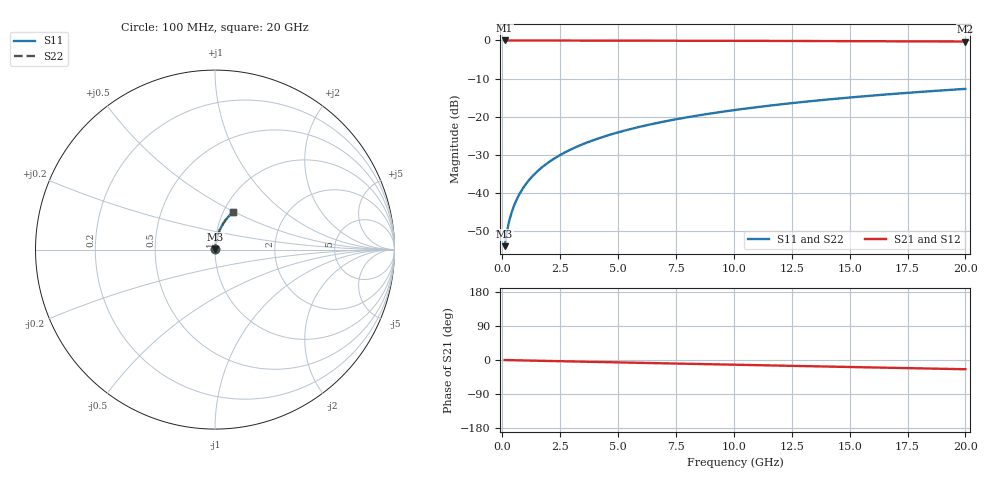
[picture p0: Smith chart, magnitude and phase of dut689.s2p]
! Touchstone file exported from HFSS 2026.1.0
!  File:  C:/ffzhzh/LocalFiles/Ansys_Project_Files/temp_train_TMRDL_689_1783010239_51716.aedt
!  Generated:  12:38:52 AM Jul  3, 2026
!  Design:  TMRDL
!  Project:  temp_train_TMRDL_689_1783010239_51716
! Variables:
!  h_bsmrdl = 2um
!  h_ox = 20um
!  h_rdl = 5um
!  h_sub = 80um
!  h_tmrdl = 3.38um
!  h_tsv = 80um
!  h_via = 3um
!  l_bsmrdl = 300um
!  l_sub = 720.23um
!  l_tmrdl = 320.23um
!  m_sub = 200um
!  pitch = 55.24um
!  r_tsv = 6um
!  s_tmrdl = 10um
!  w_bsmrdl = 18um
!  w_sub = 500um
!  w_tmrdl = 27.8um
!  x_tsv_center1 = 334.13um
!  x_tsv_center2 = 652.13um
!  x_tsv_center3 = 1000.16um
!  x_tsv_center4 = 1318.16um
!  x_tsv_center5 = 1666.19um
!  x_tsv_center6 = 1984.19um
# GHz S MA R 50.000000
! Terminal data exported
! Port[1] = TM_RDL1_1_T1
! Port[2] = TM_RDL1_1_T2
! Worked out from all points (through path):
!   200 points, 100 MHz to 20 GHz, reference 50 ohm
!   highest |S21| = -0.01 dB at 100 MHz (marker M1); lowest = -0.3 dB at 20 GHz (marker M2)
!   group delay of S21, straight-line fit = 3.38 ps
!   lowest |S11| = -53.9 dB at 100 MHz (marker M3), VSWR 1.00, Z = 50.1 + j0.14 ohm
!   |S11| at or under -10 dB: start of sweep to end of sweep
!   |S22| runs from -53.9 to -12.7 dB; largest |S21 - S12| = 3.3e-15
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0.1  0.002026 43.4  0.9985 -0.1  0.9985 -0.1  0.002026 43.4
! Gamma 0 0 0 0
! Port Impedance 50 0 50 0
0.2  0.003152 60.2  0.9984 -0.3  0.9984 -0.3  0.003152 60.2
0.3  0.004357 67.4  0.9983 -0.4  0.9983 -0.4  0.004357 67.4
0.4  0.00557 71.5  0.9983 -0.5  0.9983 -0.5  0.00557 71.5
0.5  0.006783 74.2  0.9982 -0.6  0.9982 -0.6  0.006783 74.2
0.6  0.008002 76.1  0.9982 -0.8  0.9982 -0.8  0.008002 76.1
0.8  0.01045 78.7  0.9981 -1.0  0.9981 -1.0  0.01045 78.7
1.1  0.01416 80.8  0.998 -1.4  0.998 -1.4  0.01416 80.8
1.5  0.01914 82.1  0.9978 -1.9  0.9978 -1.9  0.01914 82.1
1.8  0.02289 82.6  0.9977 -2.3  0.9977 -2.3  0.02289 82.6
2.1  0.02663 82.8  0.9976 -2.7  0.9976 -2.7  0.02663 82.8
2.7  0.03412 82.8  0.9972 -3.4  0.9972 -3.4  0.03412 82.8
3.5  0.04407 82.4  0.9966 -4.4  0.9966 -4.4  0.04407 82.4
4.2  0.05273 81.9  0.996 -5.3  0.996 -5.3  0.05273 81.9
5  0.06256 81.1  0.9952 -6.3  0.9952 -6.3  0.06256 81.1
5.9  0.07353 80.2  0.9942 -7.4  0.9942 -7.4  0.07353 80.2
6.8  0.0844 79.2  0.993 -8.5  0.993 -8.5  0.0844 79.2
8.3  0.1023 77.5  0.9909 -10.4  0.9909 -10.4  0.1023 77.5
10.1  0.1234 75.4  0.988 -12.6  0.988 -12.6  0.1234 75.4
13.4  0.1611 71.6  0.9819 -16.6  0.9819 -16.6  0.1611 71.6
16.7  0.1974 67.9  0.9747 -20.5  0.9747 -20.5  0.1974 67.9
20  0.232 64.1  0.9666 -24.4  0.9666 -24.4  0.232 64.1
